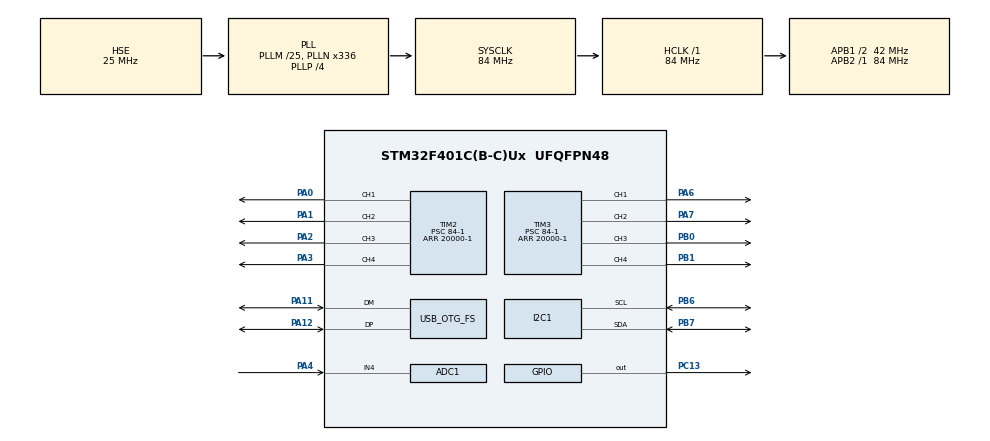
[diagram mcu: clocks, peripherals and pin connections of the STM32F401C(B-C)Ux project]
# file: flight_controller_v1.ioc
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ADC1.Channel-0\#ChannelRegularConversion=ADC_CHANNEL_4
ADC1.NbrOfConversionFlag=1
ADC1.Rank-0\#ChannelRegularConversion=1
ADC1.SamplingTime-0\#ChannelRegularConversion=ADC_SAMPLETIME_3CYCLES
ADC1.master=1
FREERTOS.Tasks01=machTask,32,256,StartMechTask,Default,NULL,Dynamic,NULL,NULL;serialTask,32,256,StartSerialTask,Default,NULL,Dynamic,NULL,NULL
FREERTOS.configUSE_NEWLIB_REENTRANT=1
Mcu.Family=STM32F4
Mcu.Name=STM32F401C(B-C)Ux
Mcu.Package=UFQFPN48
NVIC.OTG_FS_IRQn=true\:5\:0\:false\:false\:true\:true\:false\:true\:true
NVIC.PriorityGroup=NVIC_PRIORITYGROUP_4
NVIC.TIM1_UP_TIM10_IRQn=true\:15\:0\:false\:false\:true\:false\:false\:true\:true
NVIC.TimeBase=TIM1_UP_TIM10_IRQn
NVIC.TimeBaseIP=TIM1
PA0-WKUP.Signal=S_TIM2_CH1_ETR
PA1.Signal=S_TIM2_CH2
PA11.Mode=Device_Only
PA11.Signal=USB_OTG_FS_DM
PA12.Mode=Device_Only
PA12.Signal=USB_OTG_FS_DP
PA13.Mode=Serial_Wire
PA13.Signal=SYS_JTMS-SWDIO
PA14.Mode=Serial_Wire
PA14.Signal=SYS_JTCK-SWCLK
PA2.Signal=S_TIM2_CH3
PA3.Signal=S_TIM2_CH4
PA4.Signal=ADCx_IN4
PA6.Signal=S_TIM3_CH1
PA7.Signal=S_TIM3_CH2
PB0.Signal=S_TIM3_CH3
PB1.Signal=S_TIM3_CH4
PB6.Mode=I2C
PB6.Signal=I2C1_SCL
PB7.Mode=I2C
PB7.Signal=I2C1_SDA
PC13-ANTI_TAMP.Signal=GPIO_Output
PH0\ -\ OSC_IN.Mode=HSE-External-Oscillator
PH0\ -\ OSC_IN.Signal=RCC_OSC_IN
PH1\ -\ OSC_OUT.Mode=HSE-External-Oscillator
PH1\ -\ OSC_OUT.Signal=RCC_OSC_OUT
ProjectManager.HeapSize=0x200
ProjectManager.StackSize=0x400
ProjectManager.TargetToolchain=STM32CubeIDE
RCC.48MHZClocksFreq_Value=48000000
RCC.AHBFreq_Value=84000000
RCC.APB1CLKDivider=RCC_HCLK_DIV2
RCC.APB1Freq_Value=42000000
RCC.APB1TimFreq_Value=84000000
RCC.APB2Freq_Value=84000000
RCC.APB2TimFreq_Value=84000000
RCC.CortexFreq_Value=84000000
RCC.HCLKFreq_Value=84000000
RCC.HSE_VALUE=25000000
RCC.HSI_VALUE=16000000
RCC.LSE_VALUE=32768
RCC.PLLM=25
RCC.PLLN=336
RCC.PLLP=RCC_PLLP_DIV4
RCC.PLLQ=7
RCC.SYSCLKFreq_VALUE=84000000
RCC.SYSCLKSource=RCC_SYSCLKSOURCE_PLLCLK
RCC.VCOOutputFreq_Value=336000000
SH.ADCx_IN4.0=ADC1_IN4,IN4
SH.S_TIM2_CH1_ETR.0=TIM2_CH1,PWM Generation1 CH1
SH.S_TIM2_CH2.0=TIM2_CH2,PWM Generation2 CH2
SH.S_TIM2_CH3.0=TIM2_CH3,PWM Generation3 CH3
SH.S_TIM2_CH4.0=TIM2_CH4,PWM Generation4 CH4
SH.S_TIM3_CH1.0=TIM3_CH1,PWM Generation1 CH1
SH.S_TIM3_CH2.0=TIM3_CH2,PWM Generation2 CH2
SH.S_TIM3_CH3.0=TIM3_CH3,PWM Generation3 CH3
SH.S_TIM3_CH4.0=TIM3_CH4,PWM Generation4 CH4
TIM2.Channel-PWM\ Generation1\ CH1=TIM_CHANNEL_1
TIM2.Channel-PWM\ Generation2\ CH2=TIM_CHANNEL_2
TIM2.Channel-PWM\ Generation3\ CH3=TIM_CHANNEL_3
TIM2.Channel-PWM\ Generation4\ CH4=TIM_CHANNEL_4
TIM2.Period=20000-1
TIM2.Prescaler=84-1
TIM3.Channel-PWM\ Generation1\ CH1=TIM_CHANNEL_1
TIM3.Channel-PWM\ Generation2\ CH2=TIM_CHANNEL_2
TIM3.Channel-PWM\ Generation3\ CH3=TIM_CHANNEL_3
TIM3.Channel-PWM\ Generation4\ CH4=TIM_CHANNEL_4
TIM3.Period=20000-1
TIM3.Prescaler=84-1
USB_DEVICE.CLASS_NAME_FS=CDC
USB_DEVICE.VirtualMode=Cdc
USB_DEVICE.VirtualModeFS=Cdc_FS
USB_OTG_FS.VirtualMode=Device_Only
VP_FREERTOS_VS_CMSIS_V2.Mode=CMSIS_V2
VP_SYS_VS_tim1.Mode=TIM1
VP_USB_DEVICE_VS_USB_DEVICE_CDC_FS.Mode=CDC_FS
board=custom

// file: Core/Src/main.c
/* USER CODE BEGIN Header */
/**
 ******************************************************************************
 * @file           : main.c
 * @brief          : Main program body
 ******************************************************************************
 * @attention
 *
 * Copyright (c) 2024 STMicroelectronics.
 * All rights reserved.
 *
 * This software is licensed under terms that can be found in the LICENSE file
 * in the root directory of this software component.
 * If no LICENSE file comes with this software, it is provided AS-IS.
 *
 ******************************************************************************
 */
/* USER CODE END Header */
#include "main.h"
#include "cmsis_os.h"
#include "usb_device.h"

/* USER CODE BEGIN Includes */
#include "i2c_dev.h"
#include "mech.h"
//#include "usbd_cdc_if.h"
/* USER CODE END Includes */

ADC_HandleTypeDef hadc1;

I2C_HandleTypeDef hi2c1;

TIM_HandleTypeDef htim2;
TIM_HandleTypeDef htim3;

/* Definitions for machTask */
osThreadId_t machTaskHandle;
const osThreadAttr_t machTask_attributes = {
  .name = "machTask",
  .stack_size = 256 * 4,
  .priority = (osPriority_t) osPriorityAboveNormal,
};
/* Definitions for serialTask */
osThreadId_t serialTaskHandle;
const osThreadAttr_t serialTask_attributes = {
  .name = "serialTask",
  .stack_size = 256 * 4,
  .priority = (osPriority_t) osPriorityAboveNormal,
};
/* USER CODE BEGIN PV */
extern float angles_in[3], angles_out[3]; // angles

extern float speeds_in[3], speeds_out[3]; // speeds

extern uint16_t servos_in[10], battery_out[4]; // data for pwm devices and battery statuses (if multiple)

extern uint8_t exchange_data[16]; // array only for fast data transfer

extern uint16_t updated; // flag for processing data

float angles_kal[3] = { 0.0, 0.0, 0.0 }; // x angle, y angle and z rate
float angles_des[3] = { 0.0, 0.0, 0.0 }; // our end angles

uint16_t motors[5] = { 1000, 1000, 1000, 1000, 1000 }; // motors front left, front right, back right, back left
/* USER CODE END PV */

void SystemClock_Config(void);
static void MX_GPIO_Init(void);
static void MX_ADC1_Init(void);
static void MX_TIM2_Init(void);
static void MX_I2C1_Init(void);
static void MX_TIM3_Init(void);
void StartMechTask(void *argument);
void StartSerialTask(void *argument);

int main(void)
{

  /* MCU Configuration--------------------------------------------------------*/

  /* Reset of all peripherals, Initializes the Flash interface and the Systick. */
  HAL_Init();

  /* Configure the system clock */
  SystemClock_Config();

  /* Initialize all configured peripherals */
  MX_GPIO_Init();
  MX_ADC1_Init();
  MX_TIM2_Init();
  MX_I2C1_Init();
  MX_TIM3_Init();

  /* Init scheduler */
  osKernelInitialize();

  /* Create the thread(s) */
  /* creation of machTask */
  machTaskHandle = osThreadNew(StartMechTask, NULL, &machTask_attributes);

  /* creation of serialTask */
  serialTaskHandle = osThreadNew(StartSerialTask, NULL, &serialTask_attributes);

  /* Start scheduler */
  osKernelStart();

  /* We should never get here as control is now taken by the scheduler */

  /* Infinite loop */
	while (1)
	{

	}
}

void SystemClock_Config(void)
{
  RCC_OscInitTypeDef RCC_OscInitStruct = {0};
  RCC_ClkInitTypeDef RCC_ClkInitStruct = {0};

  /** Configure the main internal regulator output voltage
  */
  __HAL_RCC_PWR_CLK_ENABLE();
  __HAL_PWR_VOLTAGESCALING_CONFIG(PWR_REGULATOR_VOLTAGE_SCALE2);

  /** Initializes the RCC Oscillators according to the specified parameters
  * in the RCC_OscInitTypeDef structure.
  */
  RCC_OscInitStruct.OscillatorType = RCC_OSCILLATORTYPE_HSE;
  RCC_OscInitStruct.HSEState = RCC_HSE_ON;
  RCC_OscInitStruct.PLL.PLLState = RCC_PLL_ON;
  RCC_OscInitStruct.PLL.PLLSource = RCC_PLLSOURCE_HSE;
  RCC_OscInitStruct.PLL.PLLM = 25;
  RCC_OscInitStruct.PLL.PLLN = 336;
  RCC_OscInitStruct.PLL.PLLP = RCC_PLLP_DIV4;
  RCC_OscInitStruct.PLL.PLLQ = 7;
  if (HAL_RCC_OscConfig(&RCC_OscInitStruct) != HAL_OK)
  {
    Error_Handler();
  }

  /** Initializes the CPU, AHB and APB buses clocks
  */
  RCC_ClkInitStruct.ClockType = RCC_CLOCKTYPE_HCLK|RCC_CLOCKTYPE_SYSCLK
                              |RCC_CLOCKTYPE_PCLK1|RCC_CLOCKTYPE_PCLK2;
  RCC_ClkInitStruct.SYSCLKSource = RCC_SYSCLKSOURCE_PLLCLK;
  RCC_ClkInitStruct.AHBCLKDivider = RCC_SYSCLK_DIV1;
  RCC_ClkInitStruct.APB1CLKDivider = RCC_HCLK_DIV2;
  RCC_ClkInitStruct.APB2CLKDivider = RCC_HCLK_DIV1;

  if (HAL_RCC_ClockConfig(&RCC_ClkInitStruct, FLASH_LATENCY_2) != HAL_OK)
  {
    Error_Handler();
  }
}

static void MX_ADC1_Init(void)
{

  ADC_ChannelConfTypeDef sConfig = {0};

  /** Configure the global features of the ADC (Clock, Resolution, Data Alignment and number of conversion)
  */
  hadc1.Instance = ADC1;
  hadc1.Init.ClockPrescaler = ADC_CLOCK_SYNC_PCLK_DIV4;
  hadc1.Init.Resolution = ADC_RESOLUTION_12B;
  hadc1.Init.ScanConvMode = DISABLE;
  hadc1.Init.ContinuousConvMode = DISABLE;
  hadc1.Init.DiscontinuousConvMode = DISABLE;
  hadc1.Init.ExternalTrigConvEdge = ADC_EXTERNALTRIGCONVEDGE_NONE;
  hadc1.Init.ExternalTrigConv = ADC_SOFTWARE_START;
  hadc1.Init.DataAlign = ADC_DATAALIGN_RIGHT;
  hadc1.Init.NbrOfConversion = 1;
  hadc1.Init.DMAContinuousRequests = DISABLE;
  hadc1.Init.EOCSelection = ADC_EOC_SINGLE_CONV;
  if (HAL_ADC_Init(&hadc1) != HAL_OK)
  {
    Error_Handler();
  }

  /** Configure for the selected ADC regular channel its corresponding rank in the sequencer and its sample time.
  */
  sConfig.Channel = ADC_CHANNEL_4;
  sConfig.Rank = 1;
  sConfig.SamplingTime = ADC_SAMPLETIME_3CYCLES;
  if (HAL_ADC_ConfigChannel(&hadc1, &sConfig) != HAL_OK)
  {
    Error_Handler();
  }

}

static void MX_I2C1_Init(void)
{

  hi2c1.Instance = I2C1;
  hi2c1.Init.ClockSpeed = 100000;
  hi2c1.Init.DutyCycle = I2C_DUTYCYCLE_2;
  hi2c1.Init.OwnAddress1 = 0;
  hi2c1.Init.AddressingMode = I2C_ADDRESSINGMODE_7BIT;
  hi2c1.Init.DualAddressMode = I2C_DUALADDRESS_DISABLE;
  hi2c1.Init.OwnAddress2 = 0;
  hi2c1.Init.GeneralCallMode = I2C_GENERALCALL_DISABLE;
  hi2c1.Init.NoStretchMode = I2C_NOSTRETCH_DISABLE;
  if (HAL_I2C_Init(&hi2c1) != HAL_OK)
  {
    Error_Handler();
  }

}

static void MX_TIM2_Init(void)
{

  TIM_MasterConfigTypeDef sMasterConfig = {0};
  TIM_OC_InitTypeDef sConfigOC = {0};

  htim2.Instance = TIM2;
  htim2.Init.Prescaler = 84-1;
  htim2.Init.CounterMode = TIM_COUNTERMODE_UP;
  htim2.Init.Period = 20000-1;
  htim2.Init.ClockDivision = TIM_CLOCKDIVISION_DIV1;
  htim2.Init.AutoReloadPreload = TIM_AUTORELOAD_PRELOAD_DISABLE;
  if (HAL_TIM_PWM_Init(&htim2) != HAL_OK)
  {
    Error_Handler();
  }
  sMasterConfig.MasterOutputTrigger = TIM_TRGO_RESET;
  sMasterConfig.MasterSlaveMode = TIM_MASTERSLAVEMODE_DISABLE;
  if (HAL_TIMEx_MasterConfigSynchronization(&htim2, &sMasterConfig) != HAL_OK)
  {
    Error_Handler();
  }
  sConfigOC.OCMode = TIM_OCMODE_PWM1;
  sConfigOC.Pulse = 0;
  sConfigOC.OCPolarity = TIM_OCPOLARITY_HIGH;
  sConfigOC.OCFastMode = TIM_OCFAST_DISABLE;
  if (HAL_TIM_PWM_ConfigChannel(&htim2, &sConfigOC, TIM_CHANNEL_1) != HAL_OK)
  {
    Error_Handler();
  }
  if (HAL_TIM_PWM_ConfigChannel(&htim2, &sConfigOC, TIM_CHANNEL_2) != HAL_OK)
  {
    Error_Handler();
  }
  if (HAL_TIM_PWM_ConfigChannel(&htim2, &sConfigOC, TIM_CHANNEL_3) != HAL_OK)
  {
    Error_Handler();
  }
  if (HAL_TIM_PWM_ConfigChannel(&htim2, &sConfigOC, TIM_CHANNEL_4) != HAL_OK)
  {
    Error_Handler();
  }
  HAL_TIM_MspPostInit(&htim2);

}

static void MX_TIM3_Init(void)
{

  TIM_MasterConfigTypeDef sMasterConfig = {0};
  TIM_OC_InitTypeDef sConfigOC = {0};

  htim3.Instance = TIM3;
  htim3.Init.Prescaler = 84-1;
  htim3.Init.CounterMode = TIM_COUNTERMODE_UP;
  htim3.Init.Period = 20000-1;
  htim3.Init.ClockDivision = TIM_CLOCKDIVISION_DIV1;
  htim3.Init.AutoReloadPreload = TIM_AUTORELOAD_PRELOAD_DISABLE;
  if (HAL_TIM_PWM_Init(&htim3) != HAL_OK)
  {
    Error_Handler();
  }
  sMasterConfig.MasterOutputTrigger = TIM_TRGO_RESET;
  sMasterConfig.MasterSlaveMode = TIM_MASTERSLAVEMODE_DISABLE;
  if (HAL_TIMEx_MasterConfigSynchronization(&htim3, &sMasterConfig) != HAL_OK)
  {
    Error_Handler();
  }
  sConfigOC.OCMode = TIM_OCMODE_PWM1;
  sConfigOC.Pulse = 0;
  sConfigOC.OCPolarity = TIM_OCPOLARITY_HIGH;
  sConfigOC.OCFastMode = TIM_OCFAST_DISABLE;
  if (HAL_TIM_PWM_ConfigChannel(&htim3, &sConfigOC, TIM_CHANNEL_1) != HAL_OK)
  {
    Error_Handler();
  }
  if (HAL_TIM_PWM_ConfigChannel(&htim3, &sConfigOC, TIM_CHANNEL_2) != HAL_OK)
  {
    Error_Handler();
  }
  if (HAL_TIM_PWM_ConfigChannel(&htim3, &sConfigOC, TIM_CHANNEL_3) != HAL_OK)
  {
    Error_Handler();
  }
  if (HAL_TIM_PWM_ConfigChannel(&htim3, &sConfigOC, TIM_CHANNEL_4) != HAL_OK)
  {
    Error_Handler();
  }
  HAL_TIM_MspPostInit(&htim3);

}

static void MX_GPIO_Init(void)
{
  GPIO_InitTypeDef GPIO_InitStruct = {0};

  /* GPIO Ports Clock Enable */
  __HAL_RCC_GPIOC_CLK_ENABLE();
  __HAL_RCC_GPIOH_CLK_ENABLE();
  __HAL_RCC_GPIOA_CLK_ENABLE();
  __HAL_RCC_GPIOB_CLK_ENABLE();

  /*Configure GPIO pin Output Level */
  HAL_GPIO_WritePin(GPIOC, GPIO_PIN_13, GPIO_PIN_RESET);

  /*Configure GPIO pin : PC13 */
  GPIO_InitStruct.Pin = GPIO_PIN_13;
  GPIO_InitStruct.Mode = GPIO_MODE_OUTPUT_PP;
  GPIO_InitStruct.Pull = GPIO_NOPULL;
  GPIO_InitStruct.Speed = GPIO_SPEED_FREQ_LOW;
  HAL_GPIO_Init(GPIOC, &GPIO_InitStruct);

}

void StartMechTask(void *argument)
{
  /* init code for USB_DEVICE */
  MX_USB_DEVICE_Init();
  /* USER CODE BEGIN 5 */
	/* Infinite loop */
	uint8_t data[24];
	for (;;)
	{
		CDC_Transmit_FS(data, 24);
		osDelay(40);
	}
  /* USER CODE END 5 */
}

void StartSerialTask(void *argument)
{
  /* USER CODE BEGIN StartSerialTask */
	/* Infinite loop */
	osDelay(500);
	MPU6050_init(&hi2c1, SAMPLING_RATE_1KHZ, GYRO_500DS, ACCEL_8G);
	MPU6050_calibrate(1000);
	BMP180_initCalibrate(&hi2c1);

	float error_x = 0, error_y = 0; // init values for kalman filter
	float error_prev_x = 0, error_prev_y = 0;
	float iterm_prev_x = 0, iterm_prev_y = 0;
	float out_x = 0, out_y = 0;

	// set start time
	uint32_t time_from_start = xTaskGetTickCount();
	HAL_GPIO_WritePin(GPIOC, GPIO_PIN_13, 0);

	for (;;)
	{
		MPU6050_getAnglesKalman(angles_kal, time_from_start);

		// calculate PID
		error_x = 2 * (angles_des[0] - angles_kal[0]);
		error_y = 2 * (angles_des[1] - angles_kal[1]);

		calculatePID_xy(error_x, &error_prev_x, &iterm_prev_x, &out_x);
		calculatePID_xy(error_y, &error_prev_y, &iterm_prev_y, &out_y);

		// TODO do someth with z angle
		//		calculatePID_z(error_z, &error_prev_z, &iterm_prev_z, &out_z);

		motors[0] = roundf(1000 + out_x + out_y);
		motors[1] = roundf(1000 - out_x + out_y);
		motors[2] = roundf(1000 - out_x - out_y);
		motors[3] = roundf(1000 + out_x - out_y);
		norm_motors(motors);
		motors[0] += 50; // not really necessary, just for fun
		motors[1] += 50;
		motors[2] += 50;
		motors[3] += 50;

		//		write_motors(motors); // send values to motors

		// use ADC to get battery state
//		HAL_ADC_Start(&hadc1);
//		HAL_ADC_PollForConversion(&hadc1, 20);
////		battery_out[0] = HAL_ADC_GetValue(&hadc1);
//
		// communication with computer is done in usbd_cdc_if.c
//		while (xTaskGetTickCount() - time_from_start < 4)
//		{
//		}
//		time_from_start = xTaskGetTickCount();
	}
  /* USER CODE END StartSerialTask */
}

void HAL_TIM_PeriodElapsedCallback(TIM_HandleTypeDef *htim)
{
  if (htim->Instance == TIM1) {
    HAL_IncTick();
  }
}

void Error_Handler(void)
{
	__disable_irq();
	while (1)
	{
	}
}
